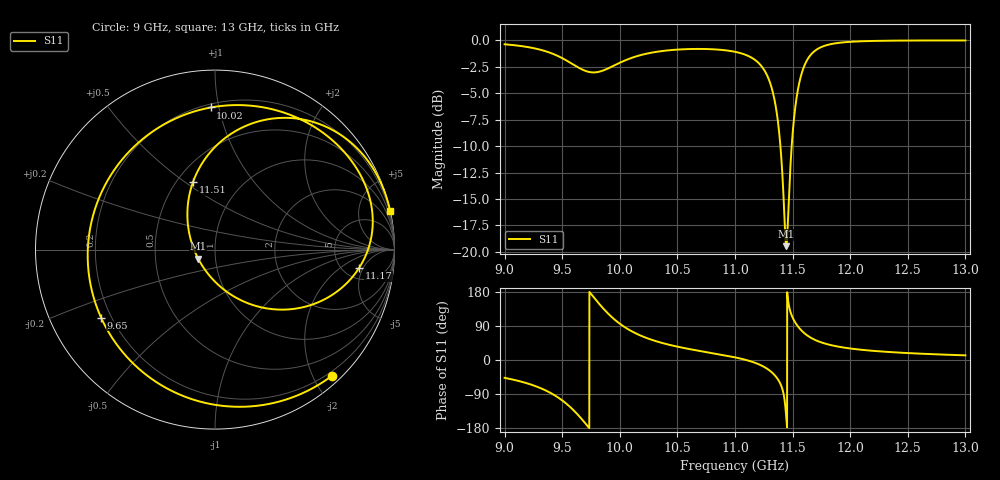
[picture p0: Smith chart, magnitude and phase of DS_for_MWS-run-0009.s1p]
! TOUCHSTONE file generated by CST DESIGN STUDIO
! Date and time: Tue Feb  4 14:30:11 2025
! Project name: C:\Work\MatlabApps\UnitCellOptimizationMatlab\CST\unitcell.cst
! Tree item: Tasks\Sweep1\SPara1\S-Parameters
! Header version: 2024
! Port assignment regex: !\s*Touchstone port\s*([0-9]+)\s*=\s*(CST MWS port|CST DES external port|CST DES block port)\s*(.+)\s* \(\"(.*)\"\)(\s*mode\s*([0-9]+))?.*
! Touchstone port assignment:
! Touchstone port 1 = CST DES external port 1 ("")
# GHz S MA R 50
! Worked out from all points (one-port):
!   4001 points, 9 GHz to 13 GHz, reference 50 ohm
!   lowest |S11| = -19.5 dB at 11.45 GHz (marker M1), VSWR 1.24, Z = 41.2 - j4.17 ohm
!   |S11| at or under -10 dB: 11.39 GHz to 11.49 GHz (97.67 MHz wide, 0.854 % of centre)
!   S11 on the Smith chart (normalised r, x): 9 GHz: 0.13, -2.29; 9.65 GHz: 0.16, -0.27; 10.02 GHz: 0.22, +0.94; 11.17 GHz: 6.98, -4.14; 11.51 GHz: 0.60, +0.53; 13 GHz: 0.04, +9.30
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9  0.9585 -47.1
9.267  0.9152 -68.9
9.399  0.8723 -86.9
9.5  0.8243 -106.6
9.65  0.7392 -149.1
9.722  0.7116 -175.0
9.793  0.7065 158.3
9.896  0.7361 123.2
10  0.7839 95.7
10.018  0.7921 91.8
10.233  0.8656 58.0
10.5  0.9046 35.2
11  0.8832 7.0
11.173  0.8091 -7.3
11.269  0.7 -21.1
11.347  0.5102 -41.0
11.398  0.2982 -65.5
11.431  0.139 -106.9
11.445  0.1064 -152.0
11.459  0.139 161.6
11.5  0.3615 112.0
11.506  0.3943 108.2
11.563  0.6481 82.4
11.629  0.8126 64.4
11.774  0.9414 44.0
12  0.9845 30.4
12.5  0.9983 18.3
13  0.9991 12.3
